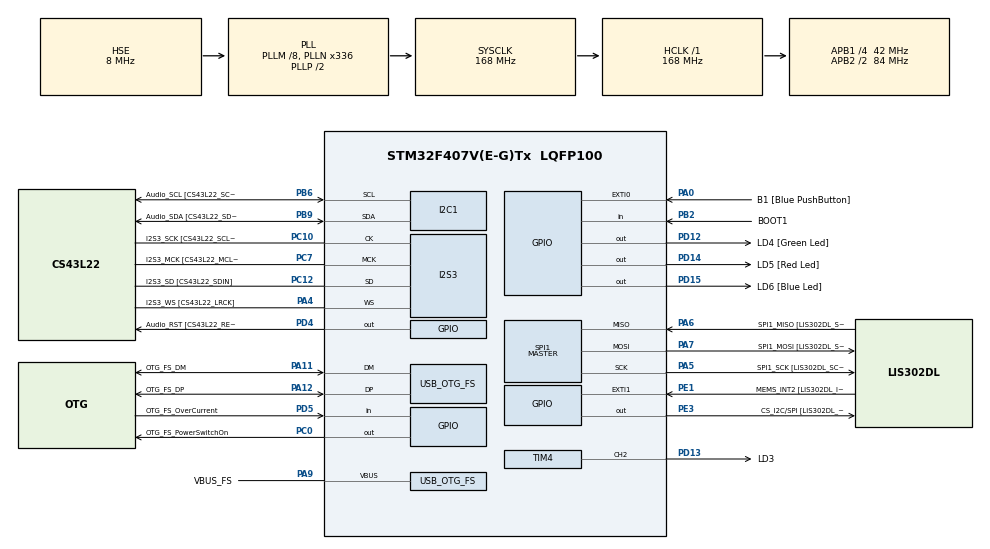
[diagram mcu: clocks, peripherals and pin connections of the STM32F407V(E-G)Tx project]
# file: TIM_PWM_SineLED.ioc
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I2S3.AudioFreq-Half_Duplex_Master=I2S_AUDIOFREQ_96K
I2S3.ErrorAudioFreq=-2.34 %
I2S3.ErrorAudioFreq-Half_Duplex_Master=0.8 %
I2S3.FullDuplexMode=I2S_FULLDUPLEXMODE_DISABLE
I2S3.Instance=SPI$Index
I2S3.RealAudioFreq=93.75 KHz
I2S3.RealAudioFreq-Half_Duplex_Master=96.774 KHz
I2S3.VirtualMode=I2S_MODE_MASTER
Mcu.Family=STM32F4
Mcu.Name=STM32F407V(E-G)Tx
Mcu.Package=LQFP100
NVIC.EXTI0_IRQn=true\:0\:0\:false\:false\:true\:true\:true\:true
NVIC.OTG_FS_IRQn=true\:0\:0\:false\:false\:true\:true\:true\:true
NVIC.PriorityGroup=NVIC_PRIORITYGROUP_0
PA0-WKUP.GPIO_Label=B1 [Blue PushButton]
PA0-WKUP.GPIO_ModeDefaultEXTI=GPIO_MODE_IT_RISING_FALLING
PA0-WKUP.GPIO_PuPd=GPIO_NOPULL
PA0-WKUP.Signal=GPXTI0
PA10.GPIO_Label=OTG_FS_ID
PA10.GPIO_Mode=GPIO_MODE_AF_PP
PA10.GPIO_PuPd=GPIO_NOPULL
PA10.GPIO_Speed=GPIO_SPEED_FREQ_LOW
PA10.Signal=USB_OTG_FS_ID
PA11.GPIO_Label=OTG_FS_DM
PA11.GPIO_Mode=GPIO_MODE_AF_PP
PA11.GPIO_PuPd=GPIO_NOPULL
PA11.GPIO_Speed=GPIO_SPEED_FREQ_LOW
PA11.Mode=Host_Only
PA11.Signal=USB_OTG_FS_DM
PA12.GPIO_Label=OTG_FS_DP
PA12.GPIO_Mode=GPIO_MODE_AF_PP
PA12.GPIO_PuPd=GPIO_NOPULL
PA12.GPIO_Speed=GPIO_SPEED_FREQ_LOW
PA12.Mode=Host_Only
PA12.Signal=USB_OTG_FS_DP
PA13.GPIO_Label=SWDIO
PA13.Mode=Serial_Wire
PA13.Signal=SYS_JTMS-SWDIO
PA14.GPIO_Label=SWCLK
PA14.Mode=Serial_Wire
PA14.Signal=SYS_JTCK-SWCLK
PA4.GPIO_Label=I2S3_WS [CS43L22_LRCK]
PA4.GPIO_Mode=GPIO_MODE_AF_PP
PA4.GPIO_PuPd=GPIO_NOPULL
PA4.GPIO_Speed=GPIO_SPEED_FREQ_LOW
PA4.Mode=Half_Duplex_Master
PA4.Signal=I2S3_WS
PA5.GPIO_Label=SPI1_SCK [LIS302DL_SCL/SPC]
PA5.GPIO_Mode=GPIO_MODE_AF_PP
PA5.GPIO_PuPd=GPIO_NOPULL
PA5.GPIO_Speed=GPIO_SPEED_FREQ_LOW
PA5.Mode=Full_Duplex_Master
PA5.Signal=SPI1_SCK
PA6.GPIO_Label=SPI1_MISO [LIS302DL_SDO]
PA6.GPIO_Mode=GPIO_MODE_AF_PP
PA6.GPIO_PuPd=GPIO_NOPULL
PA6.GPIO_Speed=GPIO_SPEED_FREQ_LOW
PA6.Mode=Full_Duplex_Master
PA6.Signal=SPI1_MISO
PA7.GPIO_Label=SPI1_MOSI [LIS302DL_SDA/SDI/SDO]
PA7.GPIO_Mode=GPIO_MODE_AF_PP
PA7.GPIO_PuPd=GPIO_NOPULL
PA7.GPIO_Speed=GPIO_SPEED_FREQ_LOW
PA7.Mode=Full_Duplex_Master
PA7.Signal=SPI1_MOSI
PA9.GPIO_Label=VBUS_FS
PA9.GPIO_Mode=GPIO_MODE_INPUT
PA9.GPIO_PuPd=GPIO_NOPULL
PA9.Mode=Activate_VBUS
PA9.Signal=USB_OTG_FS_VBUS
PB10.GPIO_Label=CLK_IN [MP45DT02_CLK]
PB10.GPIO_Mode=GPIO_MODE_AF_PP
PB10.GPIO_PuPd=GPIO_NOPULL
PB10.GPIO_Speed=GPIO_SPEED_FREQ_LOW
PB10.Signal=I2S2_CK
PB2.GPIO_Label=BOOT1
PB2.GPIO_Mode=GPIO_MODE_INPUT
PB2.GPIO_PuPd=GPIO_NOPULL
PB2.Signal=GPIO_Input
PB3.GPIO_Label=SWO
PB3.Signal=SYS_JTDO-SWO
PB6.GPIO_Label=Audio_SCL [CS43L22_SCL]
PB6.GPIO_Mode=GPIO_MODE_AF_OD
PB6.GPIO_Pu=GPIO_PULLUP
PB6.GPIO_PuPd=GPIO_NOPULL
PB6.GPIO_Speed=GPIO_SPEED_FREQ_LOW
PB6.Mode=I2C
PB6.Signal=I2C1_SCL
PB9.GPIO_Label=Audio_SDA [CS43L22_SDA]
PB9.GPIO_Mode=GPIO_MODE_AF_OD
PB9.GPIO_Pu=GPIO_PULLUP
PB9.GPIO_PuPd=GPIO_NOPULL
PB9.GPIO_Speed=GPIO_SPEED_FREQ_LOW
PB9.Mode=I2C
PB9.Signal=I2C1_SDA
PC0.GPIO_Label=OTG_FS_PowerSwitchOn
PC0.GPIO_PuPd=GPIO_NOPULL
PC0.GPIO_Speed=GPIO_SPEED_FREQ_LOW
PC0.PinState=GPIO_PIN_SET
PC0.Signal=GPIO_Output
PC10.GPIO_Label=I2S3_SCK [CS43L22_SCLK]
PC10.GPIO_Mode=GPIO_MODE_AF_PP
PC10.GPIO_PuPd=GPIO_NOPULL
PC10.GPIO_Speed=GPIO_SPEED_FREQ_LOW
PC10.Mode=Half_Duplex_Master
PC10.Signal=I2S3_CK
PC12.GPIO_Label=I2S3_SD [CS43L22_SDIN]
PC12.GPIO_Mode=GPIO_MODE_AF_PP
PC12.GPIO_PuPd=GPIO_NOPULL
PC12.GPIO_Speed=GPIO_SPEED_FREQ_LOW
PC12.Mode=Half_Duplex_Master
PC12.Signal=I2S3_SD
PC14-OSC32_IN.GPIO_Label=PC14-OSC32_IN
PC14-OSC32_IN.Mode=LSE-External-Oscillator
PC14-OSC32_IN.Signal=RCC_OSC32_IN
PC15-OSC32_OUT.GPIO_Label=PC15-OSC32_OUT
PC15-OSC32_OUT.Mode=LSE-External-Oscillator
PC15-OSC32_OUT.Signal=RCC_OSC32_OUT
PC3.GPIO_Label=PDM_OUT [MP45DT02_DOUT]
PC3.GPIO_Mode=GPIO_MODE_AF_PP
PC3.GPIO_PuPd=GPIO_NOPULL
PC3.GPIO_Speed=GPIO_SPEED_FREQ_LOW
PC3.Signal=I2S2_SD
PC7.GPIO_Label=I2S3_MCK [CS43L22_MCLK]
PC7.GPIO_Mode=GPIO_MODE_AF_PP
PC7.GPIO_PuPd=GPIO_NOPULL
PC7.GPIO_Speed=GPIO_SPEED_FREQ_LOW
PC7.Mode=Master_Clock_Activated
PC7.Signal=I2S3_MCK
PD12.GPIO_Label=LD4 [Green Led]
PD12.GPIO_PuPd=GPIO_NOPULL
PD12.GPIO_Speed=GPIO_SPEED_FREQ_LOW
PD12.Signal=GPIO_Output
PD13.GPIO_Label=LD3
PD13.Signal=S_TIM4_CH2
PD14.GPIO_Label=LD5 [Red Led]
PD14.GPIO_PuPd=GPIO_NOPULL
PD14.GPIO_Speed=GPIO_SPEED_FREQ_LOW
PD14.Signal=GPIO_Output
PD15.GPIO_Label=LD6 [Blue Led]
PD15.GPIO_PuPd=GPIO_NOPULL
PD15.GPIO_Speed=GPIO_SPEED_FREQ_LOW
PD15.Signal=GPIO_Output
PD4.GPIO_Label=Audio_RST [CS43L22_RESET]
PD4.GPIO_PuPd=GPIO_NOPULL
PD4.GPIO_Speed=GPIO_SPEED_FREQ_LOW
PD4.Signal=GPIO_Output
PD5.GPIO_Label=OTG_FS_OverCurrent
PD5.GPIO_Mode=GPIO_MODE_INPUT
PD5.GPIO_PuPd=GPIO_NOPULL
PD5.Signal=GPIO_Input
PE1.GPIO_Label=MEMS_INT2 [LIS302DL_INT2]
PE1.GPIO_ModeDefaultEXTI=GPIO_MODE_EVT_RISING
PE1.GPIO_PuPd=GPIO_NOPULL
PE1.Signal=GPXTI1
PE3.GPIO_Label=CS_I2C/SPI [LIS302DL_CS_I2C/SPI]
PE3.GPIO_PuPd=GPIO_NOPULL
PE3.GPIO_Speed=GPIO_SPEED_FREQ_LOW
PE3.Signal=GPIO_Output
PH0-OSC_IN.GPIO_Label=PH0-OSC_IN
PH0-OSC_IN.Mode=HSE-External-Oscillator
PH0-OSC_IN.Signal=RCC_OSC_IN
PH1-OSC_OUT.GPIO_Label=PH1-OSC_OUT
PH1-OSC_OUT.Mode=HSE-External-Oscillator
PH1-OSC_OUT.Signal=RCC_OSC_OUT
ProjectManager.HeapSize=0x200
ProjectManager.StackSize=0x400
ProjectManager.TargetToolchain=STM32CubeIDE
RCC.48MHZClocksFreq_Value=48000000
RCC.AHBFreq_Value=168000000
RCC.APB1CLKDivider=RCC_HCLK_DIV4
RCC.APB1Freq_Value=42000000
RCC.APB1TimFreq_Value=84000000
RCC.APB2CLKDivider=RCC_HCLK_DIV2
RCC.APB2Freq_Value=84000000
RCC.APB2TimFreq_Value=168000000
RCC.CortexFreq_Value=168000000
RCC.HCLKFreq_Value=168000000
RCC.HSE_VALUE=8000000
RCC.HSI_VALUE=16000000
RCC.PLLM=8
RCC.PLLN=336
RCC.PLLQ=7
RCC.SYSCLKFreq_VALUE=168000000
RCC.SYSCLKSource=RCC_SYSCLKSOURCE_PLLCLK
RCC.VCOOutputFreq_Value=336000000
SH.S_TIM4_CH2.0=TIM4_CH2,PWM Generation2 CH2
SPI1.BaudRatePrescaler-Full_Duplex_Master=SPI_BAUDRATEPRESCALER_2
SPI1.CalculateBaudRate-Full_Duplex_Master=42.0 MBits/s
SPI1.Direction=SPI_DIRECTION_2LINES
SPI1.Mode=SPI_MODE_MASTER
SPI1.Mode-Full_Duplex_Master=SPI_MODE_MASTER
SPI1.VirtualType=VM_MASTER
TIM4.Channel-PWM\ Generation2\ CH2=TIM_CHANNEL_2
TIM4.Period=8399
TIM4.Prescaler=4
USB_HOST.BSP.number=1
USB_HOST.USBH_HandleTypeDef-CDC_FS=hUsbHostFS
USB_HOST.VirtualModeFS=Cdc
USB_HOST0.BSP.STBoard=false
USB_HOST0.BSP.api=Unknown
USB_HOST0.BSP.instance=PC0
USB_HOST0.BSP.ip=GPIO
USB_HOST0.BSP.mode=Output
USB_HOST0.BSP.name=Drive_VBUS_FS
USB_HOST0.BSP.solution=PC0
USB_OTG_FS.VirtualMode=Host_Only
USB_OTG_FS.phy_itface=HCD_PHY_EMBEDDED
VP_TIM4_VS_ClockSourceINT.Mode=Internal
VP_USB_HOST_VS_USB_HOST_CDC_FS.Mode=CDC_FS
board=STM32F407G-DISC1

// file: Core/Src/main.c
/* USER CODE BEGIN Header */
/**
  ******************************************************************************
  * @file           : main.c
  * @brief          : Main program body
  ******************************************************************************
  * @attention
  *
  * Copyright (c) 2026 STMicroelectronics.
  * All rights reserved.
  *
  * This software is licensed under terms that can be found in the LICENSE file
  * in the root directory of this software component.
  * If no LICENSE file comes with this software, it is provided AS-IS.
  *
  ******************************************************************************
  */
/* USER CODE END Header */
#include "main.h"
#include "i2c.h"
#include "i2s.h"
#include "spi.h"
#include "tim.h"
#include "usb_host.h"
#include "gpio.h"

/* USER CODE BEGIN Includes */
#include "math.h"

/* USER CODE END Includes */

/* USER CODE BEGIN PTD */

typedef enum {
	LED_STATE_OFF,
	LED_STATE_ON,
	LED_STATE_FADING
} led_state_t;

/* USER CODE END PTD */

/* USER CODE BEGIN PD */
#define PI 3.14159265
/* USER CODE END PD */

/* USER CODE BEGIN PV */
volatile led_state_t led_state ;

/* USER CODE END PV */

void SystemClock_Config(void);
void MX_USB_HOST_Process(void);

/* USER CODE BEGIN 0 */

/*-----------------------------------------------------------------*/

static int32_t ccr = 0;
static int32_t step = 5;

void update_fade(void)
{
    uint32_t arr = __HAL_TIM_GET_AUTORELOAD(&htim4);
    ccr += step;

    if (ccr >= (int32_t)arr) { ccr = arr; step = -step; }
    if (ccr <= 0)            { ccr = 0;   step = -step; }

    __HAL_TIM_SET_COMPARE(&htim4, TIM_CHANNEL_2, (uint32_t)ccr);
}

/*-----------------------------------------------------------------*/

static float phase = 0.0f;

void update_sine(void)
{
    const float f_sine      = 1.0f;   // Hz
    const float update_rate = 1000.0f; // Hz
    const float dphase = 2.0f * (float)PI * f_sine / update_rate;

    phase += dphase;
    if (phase >= 2.0f*(float)PI) phase -= 2.0f*(float)PI;

    uint32_t arr = __HAL_TIM_GET_AUTORELOAD(&htim4);
    float s  = sinf(phase);                       // [-1,1]
    uint32_t ccr = (uint32_t)( arr * (0.5f + 0.5f*s) ); // [0,arr]
    __HAL_TIM_SET_COMPARE(&htim4, TIM_CHANNEL_2, ccr);
}

/*-----------------------------------------------------------------*/

static int32_t step_fade = 12 ;
int32_t led_fade()
{
	int32_t ccr = __HAL_TIM_GET_COMPARE(&htim4,TIM_CHANNEL_2);
	ccr -= step_fade; if(ccr < 0 ) ccr = 0;
	__HAL_TIM_SET_COMPARE(&htim4,TIM_CHANNEL_2,(uint32_t)ccr);
	return ccr ;
}

void led_update()
{
	static led_state_t last_state = LED_STATE_OFF;
	switch (led_state) {

		case LED_STATE_ON:
			if(last_state != LED_STATE_ON)
			{
			__HAL_TIM_SET_COMPARE(&htim4,TIM_CHANNEL_2,TIM4->ARR);
			}
			last_state = LED_STATE_ON;
			break;

		case LED_STATE_FADING:
			last_state = LED_STATE_FADING;
		    if (led_fade() == 0)
		    {
		        led_state = LED_STATE_OFF;
		    }
			break;

		case LED_STATE_OFF:
			if(last_state != LED_STATE_OFF)
			{
			__HAL_TIM_SET_COMPARE(&htim4,TIM_CHANNEL_2,0);
			}
			last_state = LED_STATE_OFF;
			break;
	}
}
/* USER CODE END 0 */

int main(void)
{

  /* MCU Configuration--------------------------------------------------------*/

  /* Reset of all peripherals, Initializes the Flash interface and the Systick. */
  HAL_Init();

  /* Configure the system clock */
  SystemClock_Config();

  /* Initialize all configured peripherals */
  MX_GPIO_Init();
  MX_I2C1_Init();
  MX_I2S3_Init();
  MX_SPI1_Init();
  MX_TIM4_Init();
  MX_USB_HOST_Init();
  /* USER CODE BEGIN 2 */
  HAL_TIM_PWM_Start(&htim4, TIM_CHANNEL_2);

  /* USER CODE END 2 */

  /* Infinite loop */
  /* USER CODE BEGIN WHILE */
  uint32_t last_time =	0;

  while (1)
  {
    /* USER CODE END WHILE */
    MX_USB_HOST_Process();

    /* USER CODE BEGIN 3 */
    uint32_t now =	HAL_GetTick();

    if (now-last_time >= 1) {
		//update_fade();
		//update_sine();
		led_update();
		last_time = now;
	}

  }
  /* USER CODE END 3 */
}

void SystemClock_Config(void)
{
  RCC_OscInitTypeDef RCC_OscInitStruct = {0};
  RCC_ClkInitTypeDef RCC_ClkInitStruct = {0};

  /** Configure the main internal regulator output voltage
  */
  __HAL_RCC_PWR_CLK_ENABLE();
  __HAL_PWR_VOLTAGESCALING_CONFIG(PWR_REGULATOR_VOLTAGE_SCALE1);

  /** Initializes the RCC Oscillators according to the specified parameters
  * in the RCC_OscInitTypeDef structure.
  */
  RCC_OscInitStruct.OscillatorType = RCC_OSCILLATORTYPE_HSE;
  RCC_OscInitStruct.HSEState = RCC_HSE_ON;
  RCC_OscInitStruct.PLL.PLLState = RCC_PLL_ON;
  RCC_OscInitStruct.PLL.PLLSource = RCC_PLLSOURCE_HSE;
  RCC_OscInitStruct.PLL.PLLM = 8;
  RCC_OscInitStruct.PLL.PLLN = 336;
  RCC_OscInitStruct.PLL.PLLP = RCC_PLLP_DIV2;
  RCC_OscInitStruct.PLL.PLLQ = 7;
  if (HAL_RCC_OscConfig(&RCC_OscInitStruct) != HAL_OK)
  {
    Error_Handler();
  }

  /** Initializes the CPU, AHB and APB buses clocks
  */
  RCC_ClkInitStruct.ClockType = RCC_CLOCKTYPE_HCLK|RCC_CLOCKTYPE_SYSCLK
                              |RCC_CLOCKTYPE_PCLK1|RCC_CLOCKTYPE_PCLK2;
  RCC_ClkInitStruct.SYSCLKSource = RCC_SYSCLKSOURCE_PLLCLK;
  RCC_ClkInitStruct.AHBCLKDivider = RCC_SYSCLK_DIV1;
  RCC_ClkInitStruct.APB1CLKDivider = RCC_HCLK_DIV4;
  RCC_ClkInitStruct.APB2CLKDivider = RCC_HCLK_DIV2;

  if (HAL_RCC_ClockConfig(&RCC_ClkInitStruct, FLASH_LATENCY_5) != HAL_OK)
  {
    Error_Handler();
  }
}

/* USER CODE BEGIN 4 */
static uint32_t last_tick = 0 ;
static GPIO_PinState last_btn = 0 ;

void HAL_GPIO_EXTI_Callback(uint16_t GPIO_Pin)
{
	if (GPIO_Pin == B1_Pin)
	{
		//debounce
		GPIO_PinState btn = HAL_GPIO_ReadPin(B1_GPIO_Port, B1_Pin);
		if ( btn != last_btn ) //edge
		{
			last_btn = btn;
			uint32_t now  = HAL_GetTick();
			if ( now - last_tick > 10 )  // delay
			{
				last_tick = now;

				if (btn == GPIO_PIN_SET ) // rising edge
				{
					led_state = LED_STATE_ON;
				}
				else // falling edge
				{
					led_state = LED_STATE_FADING;
				}

			}
		}
	}
}

/* USER CODE END 4 */

void Error_Handler(void)
{
  __disable_irq();
  while (1)
  {
  }
}
